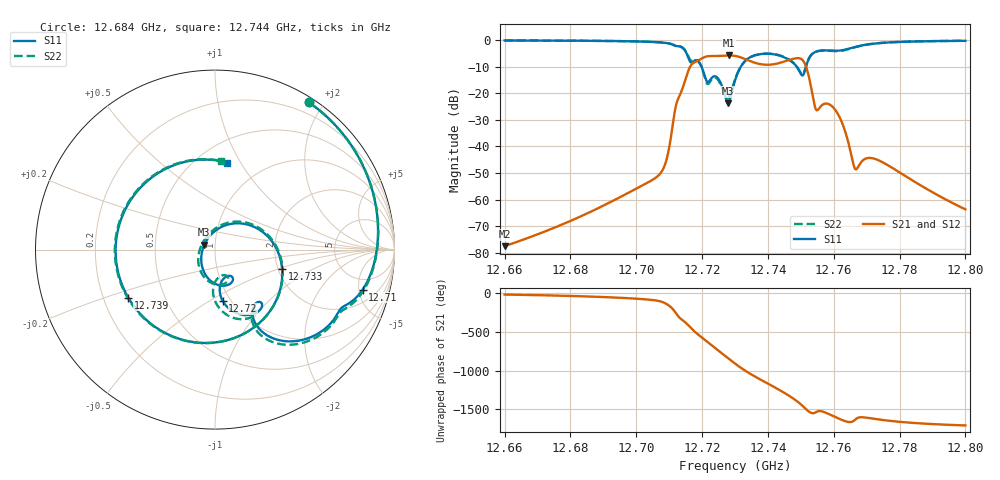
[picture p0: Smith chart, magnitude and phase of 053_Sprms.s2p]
! TOUCHSTONE file generated by CST MICROWAVE STUDIO
! Date and time: Wed Jul 31 13:21:34 2024
! Project name: WaveGuide_BPF-Ver4.1_U-shape_Ku_T3_C4_CWA_2.cst
! Parameters = {cavity_h=16; cavity_l0=10; cavity_l1=15.1728; cavity_l2=16.8018; cavity_l3=17.0696; cavity_l4=17.245; cavity_l5=17.1349; cavity_l6=17.5874; cavity_r=2.5; cavity_screw_l=0.5; cavity_screw_r=1.5; cavity_w=8; iris_h00=0; iris_h01=8.8026; iris_h112=0; iris_h12=5.6014; iris_h211=3.6606; i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
! Header version: 2018
! Port assignment regex: !\s*Touchstone port\s*([0-9]+)\s*=\s*(CST MWS port|CST DS port)\s*([0-9]+|Zmin|Zmax)\s*\(\"(.*)\"\)(\s*mode\s*([0-9]+))?.*
! Touchstone port assignment:
! Touchstone port 1 = CST MWS port 1 ("")
! Touchstone port 2 = CST MWS port 2 ("")
# GHz S RI R 50
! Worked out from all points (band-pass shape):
!   5001 points, 12.66 GHz to 12.8 GHz, reference 50 ohm
!   highest |S21| = -5.76 dB at 12.728 GHz (marker M1); lowest = -77.5 dB at 12.66 GHz (marker M2)
!   |S21| within 3 dB of the highest: 12.71718 GHz to 12.73672 GHz (19.54 MHz wide, 0.154 % of centre); 12.743 GHz to 12.75119 GHz (8.193 MHz wide, 0.0643 % of centre)
!   lowest |S11| = -23.7 dB at 12.728 GHz (marker M3), VSWR 1.14, Z = 44.3 + j2.43 ohm
!   |S11| at or under -10 dB: 12.71984 GHz to 12.73177 GHz (11.93 MHz wide, 0.0937 % of centre); 12.74874 GHz to 12.75158 GHz (2.833 MHz wide, 0.0222 % of centre)
!   |S22| runs from -22.1 to -0.1 dB; largest |S21 - S12| = 1e-09
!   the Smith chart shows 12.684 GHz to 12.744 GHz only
!   S11 on the Smith chart (normalised r, x): 12.684 GHz: 0.06, +1.82; 12.71 GHz: 3.37, -5.50; 12.72 GHz: 0.92, -0.57; 12.733 GHz: 2.10, -0.54; 12.739 GHz: 0.31, -0.24; 12.744 GHz: 0.69, +0.88
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12.66  0.1836 0.9682  0.00013 -3.26e-05  0.00013 -3.26e-05  0.1826 0.9683
12.68335  0.5127 0.8278  0.000397 -0.000293  0.000397 -0.000293  0.5151 0.826
12.68383  0.5211 0.822  0.000406 -0.000306  0.000406 -0.000306  0.5237 0.8201
12.70668  0.9083 0.0844  -0.000302 -0.00281  -0.000302 -0.00281  0.9089 0.0685
12.71037  0.8228 -0.2228  -0.0128 -0.00187  -0.0128 -0.00187  0.82 -0.2394
12.71706  0.2495 -0.2914  -0.1049 -0.3444  -0.1049 -0.3444  0.2263 -0.3407
12.72009  0.0427 -0.2853  -0.3742 0.2648  -0.3742 0.2648  -0.00235 -0.2795
12.72426  0.0429 -0.2013  0.5014 0.0237  0.5014 0.0237  0.00459 -0.1945
12.72793  -0.0594 0.0273  -0.2498 -0.4508  -0.2498 -0.4508  -0.0594 0.0536
12.72815  -0.0509 0.0442  -0.306 -0.4148  -0.306 -0.4148  -0.0493 0.0682
12.73  0.0967 0.1447  -0.5018 0.0596  -0.5018 0.0596  0.0971 0.1545
12.73283  0.3739 -0.1099  0.0145 0.4464  0.0145 0.4464  0.3759 -0.0974
12.73879  -0.4834 -0.2676  0.1792 -0.2961  0.1792 -0.2961  -0.4793 -0.2807
12.74442  0.0666 0.485  -0.3786 0.0779  -0.3786 0.0779  0.0317 0.4949
12.74977  0.1706 -0.1772  0.4392 0.1091  0.4392 0.1091  0.1984 -0.1569
12.75335  -0.00656 -0.5404  -0.0337 -0.1032  -0.0337 -0.1032  0.0513 -0.5413
12.75713  -0.6379 0.0507  -0.00617 -0.0631  -0.00617 -0.0631  -0.6379 -0.0202
12.76086  0.0313 0.6307  -0.0437 -0.0105  -0.0437 -0.0105  -0.0157 0.6196
12.76559  0.6913 -0.1908  -0.00448 0.00372  -0.00448 0.00372  0.6822 -0.1954
12.77012  0.2089 -0.7982  -0.0059 -0.00125  -0.0059 -0.00125  0.1867 -0.8037
12.77668  -0.4721 -0.7712  -0.0039 0.00195  -0.0039 0.00195  -0.4898 -0.7619
12.8  -0.9707 0.0324  -2.43e-05 0.000657  -2.43e-05 0.000657  -0.971 0.0377
